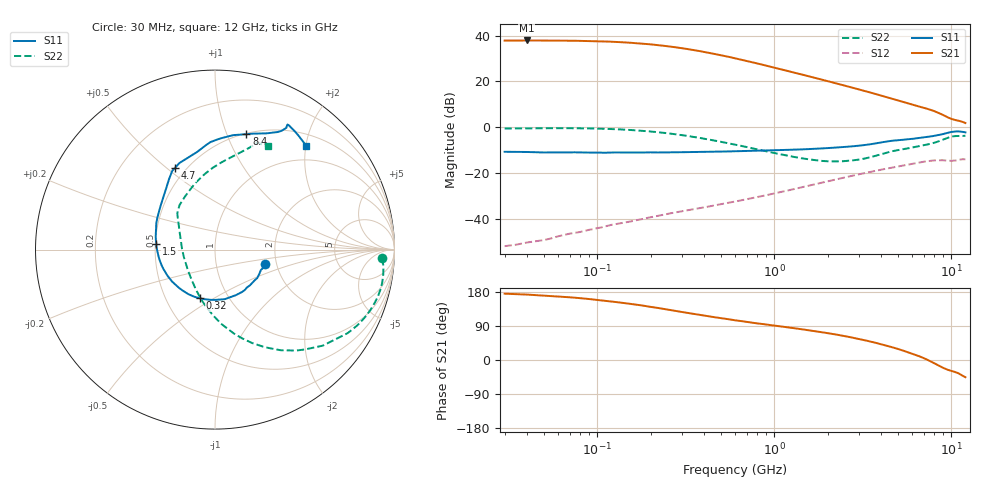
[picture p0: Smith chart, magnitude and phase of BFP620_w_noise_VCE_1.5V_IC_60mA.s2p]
! Infineon Technologies  Discrete & RF Semiconductors
! BFP620
! VCE =  1.5 V,  IC =  60 mA
! Common Emitter S-Parameters:  Nov 2015
# GHz  S  MA  R  50
!  f  S11  S21  S12  S22
! GHz  MAG  ANG  MAG  ANG  MAG  ANG  MAG  ANG
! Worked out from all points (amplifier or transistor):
!   239 points, 30 MHz to 12 GHz, reference 50 ohm
!   highest |S21| = 37.9 dB at 40 MHz (marker M1)
!   |S21| within 3 dB of that: start of sweep to 277.9 MHz
!   unconditionally stable (mu >= 1): 1.825 GHz to end of sweep
!   at 300 MHz: K = 0.52, MSG = 35.7 dB, |S12| = -36.8 dB
!   at 1.88 GHz: K = 1.00, MAG = 22.1 dB, |S12| = -24.2 dB
!   at 12 GHz: K = 1.08, MAG = 6.2 dB, |S12| = -14.1 dB
!   lowest NFmin = 1.69 dB at 450 MHz
!   S11 on the Smith chart (normalised r, x): 30 MHz: 1.74, -0.30; 320 MHz: 0.74, -0.43; 1.5 GHz: 0.51, +0.04; 4.7 GHz: 0.44, +0.54; 8.4 GHz: 0.51, +1.18; 12 GHz: 0.70, +2.00
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0.03  0.2894 -16.1  78.12 175.0  0.0025 101.5  0.9329 -3.0
0.04  0.2865 -21.1  78.59 172.7  0.003 95.4  0.9432 -5.7
0.07  0.2838 -33.8  77.89 165.5  0.0047 87.5  0.9483 -13.6
0.085  0.279 -39.7  76.69 162.1  0.0054 83.5  0.9405 -17.4
0.115  0.2775 -51.5  74.29 155.5  0.007 80.3  0.9147 -24.6
0.145  0.2795 -62.2  71.05 149.7  0.0083 77.0  0.8797 -31.1
0.2  0.2816 -78.9  64.64 140.2  0.0107 73.1  0.8044 -41.7
0.24  0.2802 -89.7  59.82 134.4  0.0123 71.4  0.7479 -48.1
0.32  0.2838 -107.3  51.34 124.8  0.0151 69.0  0.6464 -59.1
0.38  0.2876 -117.5  45.9 119.1  0.017 68.0  0.5811 -65.9
0.45  0.2907 -127.4  40.49 113.5  0.0192 67.4  0.5172 -73.0
0.6  0.2982 -143.4  32.01 104.8  0.0236 66.5  0.4157 -85.1
0.7  0.3019 -151.2  27.9 100.4  0.0266 66.3  0.3658 -91.8
0.9  0.3098 -163.3  22.08 93.6  0.0325 65.6  0.2968 -103.6
1.1  0.3165 -172.3  18.24 88.2  0.0385 64.6  0.2524 -114.1
1.5  0.3287 174.1  13.5 79.7  0.0505 61.7  0.2027 -133.2
1.64  0.3349 170.1  12.36 77.1  0.0547 60.6  0.1927 -139.8
2.6  0.3739 147.5  7.758 61.4  0.0823 51.1  0.1834 179.4
4.5  0.4992 118.5  4.304 35.1  0.1282 30.4  0.2918 136.0
4.7  0.5074 116.0  4.108 32.8  0.1322 28.3  0.3013 132.9
8.4  0.6672 74.8  2.073 -13.7  0.1888 -12.2  0.4848 86.2
12  0.7704 48.8  1.232 -45.4  0.1979 -40.2  0.6484 62.8
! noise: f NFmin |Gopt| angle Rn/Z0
0.45  1.69  0.35  -167  0.1
0.9  1.7  0.38  -155  0.11
1.9  1.71  0.41  -139  0.13
2.4  1.74  0.41  -137  0.15
3.5  1.78  0.45  -106  0.27
5.5  2.08  0.46  -85  0.38
10  2.36  0.67  -42  1.41
